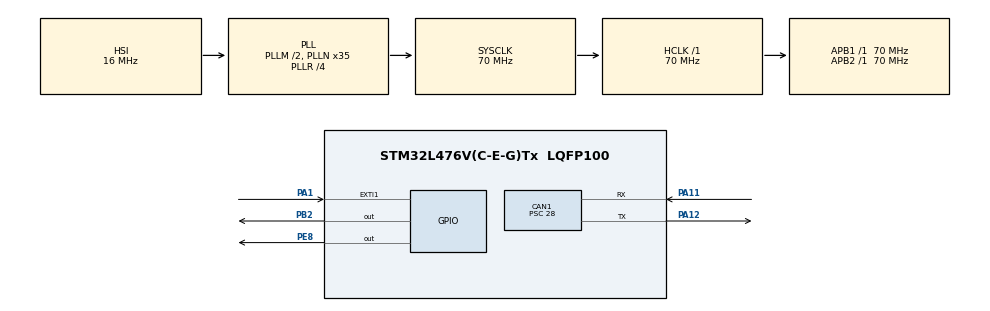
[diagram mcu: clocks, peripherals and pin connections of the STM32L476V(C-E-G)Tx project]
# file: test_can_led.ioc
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CAN1.BS1=CAN_BS1_2TQ
CAN1.BS2=CAN_BS2_2TQ
CAN1.CalculateBaudRate=500000
CAN1.CalculateTimeBit=2000
CAN1.CalculateTimeQuantum=400.0
CAN1.Prescaler=28
FREERTOS.Tasks01=defaultTask,24,128,StartDefaultTask,Default,NULL,Dynamic,NULL,NULL;Led,8,128,StartLed,Default,NULL,Dynamic,NULL,NULL;CAN,8,128,StartCAN,Default,NULL,Dynamic,NULL,NULL
FREERTOS.configUSE_NEWLIB_REENTRANT=1
Mcu.Family=STM32L4
Mcu.Name=STM32L476V(C-E-G)Tx
Mcu.Package=LQFP100
NVIC.CAN1_RX0_IRQn=true\:5\:0\:false\:false\:true\:true\:true\:true\:true
NVIC.EXTI1_IRQn=true\:5\:0\:false\:false\:true\:true\:true\:true\:true
NVIC.PriorityGroup=NVIC_PRIORITYGROUP_4
PA1.GPIO_PuPd=GPIO_PULLDOWN
PA1.Signal=GPXTI1
PA11.GPIO_PuPd=GPIO_NOPULL
PA11.Mode=CAN_Activate
PA11.Signal=CAN1_RX
PA12.Mode=CAN_Activate
PA12.Signal=CAN1_TX
PA13\ (JTMS-SWDIO).Mode=Trace_Asynchronous_SW
PA13\ (JTMS-SWDIO).Signal=SYS_JTMS-SWDIO
PA14\ (JTCK-SWCLK).Mode=Trace_Asynchronous_SW
PA14\ (JTCK-SWCLK).Signal=SYS_JTCK-SWCLK
PB2.GPIO_PuPd=GPIO_PULLUP
PB2.GPIO_Speed=GPIO_SPEED_FREQ_HIGH
PB2.Signal=GPIO_Output
PB3\ (JTDO-TRACESWO).Mode=Trace_Asynchronous_SW
PB3\ (JTDO-TRACESWO).Signal=SYS_JTDO-SWO
PC14-OSC32_IN\ (PC14).Mode=LSE-External-Oscillator
PC14-OSC32_IN\ (PC14).Signal=RCC_OSC32_IN
PC15-OSC32_OUT\ (PC15).Mode=LSE-External-Oscillator
PC15-OSC32_OUT\ (PC15).Signal=RCC_OSC32_OUT
PE8.GPIO_PuPd=GPIO_PULLUP
PE8.GPIO_Speed=GPIO_SPEED_FREQ_HIGH
PE8.Signal=GPIO_Output
ProjectManager.HeapSize=0x200
ProjectManager.StackSize=0x400
ProjectManager.TargetToolchain=STM32CubeIDE
RCC.ADCFreq_Value=32000000
RCC.AHBFreq_Value=70000000
RCC.APB1Freq_Value=70000000
RCC.APB1TimFreq_Value=70000000
RCC.APB2Freq_Value=70000000
RCC.APB2TimFreq_Value=70000000
RCC.CortexFreq_Value=70000000
RCC.HCLKFreq_Value=70000000
RCC.HSE_VALUE=8000000
RCC.HSI_VALUE=16000000
RCC.MSI_VALUE=4000000
RCC.PLLM=2
RCC.PLLN=35
RCC.PLLR=RCC_PLLR_DIV4
RCC.PLLSourceVirtual=RCC_PLLSOURCE_HSI
RCC.SYSCLKFreq_VALUE=70000000
RCC.SYSCLKSource=RCC_SYSCLKSOURCE_PLLCLK
RCC.USBFreq_Value=32000000
RCC.VCOOutputFreq_Value=280000000
VP_FREERTOS_VS_CMSIS_V2.Mode=CMSIS_V2
board=custom

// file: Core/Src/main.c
/* USER CODE BEGIN Header */
/**
 ******************************************************************************
 * @file           : main.c
 * @brief          : Main program body
 ******************************************************************************
 * @attention
 *
 *GREEN - RX Yellow - TX
 *
 * Copyright (c) 2023 STMicroelectronics.
 * All rights reserved.
 *
 * This software is licensed under terms that can be found in the LICENSE file
 * in the root directory of this software component.
 * If no LICENSE file comes with this software, it is provided AS-IS.
 *
 ******************************************************************************
 */
/* USER CODE END Header */
#include "main.h"
#include "cmsis_os.h"

/* USER CODE BEGIN Includes */
//GREEN - RX Yellow - TX
/* USER CODE END Includes */

CAN_HandleTypeDef hcan1;

/* Definitions for defaultTask */
osThreadId_t defaultTaskHandle;
const osThreadAttr_t defaultTask_attributes = {
  .name = "defaultTask",
  .stack_size = 128 * 4,
  .priority = (osPriority_t) osPriorityNormal,
};
/* Definitions for Led */
osThreadId_t LedHandle;
const osThreadAttr_t Led_attributes = {
  .name = "Led",
  .stack_size = 128 * 4,
  .priority = (osPriority_t) osPriorityLow,
};
/* Definitions for CAN */
osThreadId_t CANHandle;
const osThreadAttr_t CAN_attributes = {
  .name = "CAN",
  .stack_size = 128 * 4,
  .priority = (osPriority_t) osPriorityLow,
};

void SystemClock_Config(void);
static void MX_GPIO_Init(void);
static void MX_CAN1_Init(void);
void StartDefaultTask(void *argument);
void StartLed(void *argument);
void StartCAN(void *argument);

/* USER CODE BEGIN 0 */
CAN_TxHeaderTypeDef TxHeader;
CAN_RxHeaderTypeDef RxHeader;

uint8_t TxData[8];
uint8_t RxData[8];

uint32_t TxMailbox;

int datacheck = 0;
int check = 0;

void HAL_GPIO_EXTI_Callback(uint16_t GPIO_Pin) {
	if (GPIO_Pin == GPIO_PIN_1) {
		check = 1;
	}
}

void HAL_CAN_RxFifo0MsgPendingCallback(CAN_HandleTypeDef *hcan1) {
	HAL_CAN_GetRxMessage(hcan1, CAN_RX_FIFO0, &RxHeader, RxData);
	if (RxHeader.DLC == 2) {
		datacheck = 1;
	}
}
/* USER CODE END 0 */

int main(void)
{

  /* MCU Configuration--------------------------------------------------------*/

  /* Reset of all peripherals, Initializes the Flash interface and the Systick. */
  HAL_Init();

  /* Configure the system clock */
  SystemClock_Config();

  /* Initialize all configured peripherals */
  MX_GPIO_Init();
  MX_CAN1_Init();
  /* USER CODE BEGIN 2 */
  	TxHeader.DLC = 2;  // data length
	TxHeader.IDE = CAN_ID_STD;
	TxHeader.RTR = CAN_RTR_DATA;
	TxHeader.StdId = 0x446;  // ID

	TxData[0] = 100;   // ms Delay
	TxData[1] = 40;    // loop rep

	HAL_CAN_Start(&hcan1);
	HAL_CAN_ActivateNotification(&hcan1, CAN_IT_RX_FIFO0_MSG_PENDING);
  /* USER CODE END 2 */

  /* Init scheduler */
  osKernelInitialize();

  /* Create the thread(s) */
  /* creation of defaultTask */
  defaultTaskHandle = osThreadNew(StartDefaultTask, NULL, &defaultTask_attributes);

  /* creation of Led */
  LedHandle = osThreadNew(StartLed, NULL, &Led_attributes);

  /* creation of CAN */
  CANHandle = osThreadNew(StartCAN, NULL, &CAN_attributes);

  /* Start scheduler */
  osKernelStart();

  /* We should never get here as control is now taken by the scheduler */
  /* Infinite loop */
	while (1) {

	}
}

void SystemClock_Config(void)
{
  RCC_OscInitTypeDef RCC_OscInitStruct = {0};
  RCC_ClkInitTypeDef RCC_ClkInitStruct = {0};

  /** Configure the main internal regulator output voltage
  */
  if (HAL_PWREx_ControlVoltageScaling(PWR_REGULATOR_VOLTAGE_SCALE1) != HAL_OK)
  {
    Error_Handler();
  }

  /** Initializes the RCC Oscillators according to the specified parameters
  * in the RCC_OscInitTypeDef structure.
  */
  RCC_OscInitStruct.OscillatorType = RCC_OSCILLATORTYPE_HSI;
  RCC_OscInitStruct.HSIState = RCC_HSI_ON;
  RCC_OscInitStruct.HSICalibrationValue = RCC_HSICALIBRATION_DEFAULT;
  RCC_OscInitStruct.PLL.PLLState = RCC_PLL_ON;
  RCC_OscInitStruct.PLL.PLLSource = RCC_PLLSOURCE_HSI;
  RCC_OscInitStruct.PLL.PLLM = 2;
  RCC_OscInitStruct.PLL.PLLN = 35;
  RCC_OscInitStruct.PLL.PLLP = RCC_PLLP_DIV7;
  RCC_OscInitStruct.PLL.PLLQ = RCC_PLLQ_DIV2;
  RCC_OscInitStruct.PLL.PLLR = RCC_PLLR_DIV4;
  if (HAL_RCC_OscConfig(&RCC_OscInitStruct) != HAL_OK)
  {
    Error_Handler();
  }

  /** Initializes the CPU, AHB and APB buses clocks
  */
  RCC_ClkInitStruct.ClockType = RCC_CLOCKTYPE_HCLK|RCC_CLOCKTYPE_SYSCLK
                              |RCC_CLOCKTYPE_PCLK1|RCC_CLOCKTYPE_PCLK2;
  RCC_ClkInitStruct.SYSCLKSource = RCC_SYSCLKSOURCE_PLLCLK;
  RCC_ClkInitStruct.AHBCLKDivider = RCC_SYSCLK_DIV1;
  RCC_ClkInitStruct.APB1CLKDivider = RCC_HCLK_DIV1;
  RCC_ClkInitStruct.APB2CLKDivider = RCC_HCLK_DIV1;

  if (HAL_RCC_ClockConfig(&RCC_ClkInitStruct, FLASH_LATENCY_4) != HAL_OK)
  {
    Error_Handler();
  }
}

static void MX_CAN1_Init(void)
{

  hcan1.Instance = CAN1;
  hcan1.Init.Prescaler = 28;
  hcan1.Init.Mode = CAN_MODE_NORMAL;
  hcan1.Init.SyncJumpWidth = CAN_SJW_1TQ;
  hcan1.Init.TimeSeg1 = CAN_BS1_2TQ;
  hcan1.Init.TimeSeg2 = CAN_BS2_2TQ;
  hcan1.Init.TimeTriggeredMode = DISABLE;
  hcan1.Init.AutoBusOff = DISABLE;
  hcan1.Init.AutoWakeUp = DISABLE;
  hcan1.Init.AutoRetransmission = DISABLE;
  hcan1.Init.ReceiveFifoLocked = DISABLE;
  hcan1.Init.TransmitFifoPriority = DISABLE;
  if (HAL_CAN_Init(&hcan1) != HAL_OK)
  {
    Error_Handler();
  }
  /* USER CODE BEGIN CAN1_Init 2 */
		CAN_FilterTypeDef canfilterconfig;

		canfilterconfig.FilterActivation = CAN_FILTER_ENABLE;
		canfilterconfig.FilterBank = 10; // which filter bank to use from the assigned ones
		canfilterconfig.FilterFIFOAssignment = CAN_FILTER_FIFO0;
		canfilterconfig.FilterIdHigh = 0x103 << 5;
		canfilterconfig.FilterIdLow = 0;
		canfilterconfig.FilterMaskIdHigh = 0;
		canfilterconfig.FilterMaskIdLow = 0;
		canfilterconfig.FilterMode = CAN_FILTERMODE_IDMASK;
		canfilterconfig.FilterScale = CAN_FILTERSCALE_32BIT;

		HAL_CAN_ConfigFilter(&hcan1, &canfilterconfig);
  /* USER CODE END CAN1_Init 2 */

}

static void MX_GPIO_Init(void)
{
  GPIO_InitTypeDef GPIO_InitStruct = {0};

  /* GPIO Ports Clock Enable */
  __HAL_RCC_GPIOC_CLK_ENABLE();
  __HAL_RCC_GPIOA_CLK_ENABLE();
  __HAL_RCC_GPIOB_CLK_ENABLE();
  __HAL_RCC_GPIOE_CLK_ENABLE();

  /*Configure GPIO pin Output Level */
  HAL_GPIO_WritePin(GPIOB, GPIO_PIN_2, GPIO_PIN_RESET);

  /*Configure GPIO pin Output Level */
  HAL_GPIO_WritePin(GPIOE, GPIO_PIN_8, GPIO_PIN_RESET);

  /*Configure GPIO pin : PA1 */
  GPIO_InitStruct.Pin = GPIO_PIN_1;
  GPIO_InitStruct.Mode = GPIO_MODE_IT_RISING;
  GPIO_InitStruct.Pull = GPIO_PULLDOWN;
  HAL_GPIO_Init(GPIOA, &GPIO_InitStruct);

  /*Configure GPIO pin : PB2 */
  GPIO_InitStruct.Pin = GPIO_PIN_2;
  GPIO_InitStruct.Mode = GPIO_MODE_OUTPUT_PP;
  GPIO_InitStruct.Pull = GPIO_PULLUP;
  GPIO_InitStruct.Speed = GPIO_SPEED_FREQ_HIGH;
  HAL_GPIO_Init(GPIOB, &GPIO_InitStruct);

  /*Configure GPIO pin : PE8 */
  GPIO_InitStruct.Pin = GPIO_PIN_8;
  GPIO_InitStruct.Mode = GPIO_MODE_OUTPUT_PP;
  GPIO_InitStruct.Pull = GPIO_PULLUP;
  GPIO_InitStruct.Speed = GPIO_SPEED_FREQ_HIGH;
  HAL_GPIO_Init(GPIOE, &GPIO_InitStruct);

  /* EXTI interrupt init*/
  HAL_NVIC_SetPriority(EXTI1_IRQn, 5, 0);
  HAL_NVIC_EnableIRQ(EXTI1_IRQn);

}

void StartDefaultTask(void *argument)
{
		for (;;) {
			osDelay(1);
		}
}

void StartLed(void *argument)
{
  /* USER CODE BEGIN StartLed */

		/* Infinite loop */
		for (;;) {
			HAL_CAN_AddTxMessage(&hcan1, &TxHeader, TxData, &TxMailbox);
			if (check) {
				for (int i = 0; i < 10; i++) {
					HAL_GPIO_WritePin(GPIOE, GPIO_PIN_8, GPIO_PIN_SET);
					HAL_CAN_AddTxMessage(&hcan1, &TxHeader, TxData, &TxMailbox);
					HAL_Delay(500);
					HAL_GPIO_WritePin(GPIOE, GPIO_PIN_8, GPIO_PIN_RESET);
				}
			}
			check=0;
			HAL_Delay(5000);
		}
  /* USER CODE END StartLed */
}

void StartCAN(void *argument)
{
  /* USER CODE BEGIN StartCAN */

		/* Infinite loop */
		for (;;) {
			HAL_GPIO_TogglePin(GPIOB, GPIO_PIN_2);
			HAL_Delay(1000);
			if (datacheck) {
				// blink the LED
				for (int i = 0; i < RxData[1]; i++) {
					HAL_GPIO_TogglePin(GPIOE, GPIO_PIN_8);
					HAL_Delay(RxData[0]);
			}

			datacheck = 0;

//	  		TxData[0] = 200;   // ms Delay
//	  		TxData[1] = 10;    // loop rep
//
//	  		HAL_CAN_AddTxMessage(&hcan1, &TxHeader, TxData, &TxMailbox);
			}
		}
  /* USER CODE END StartCAN */
}

void Error_Handler(void)
{
		__disable_irq();
		while (1) {
		}
}
